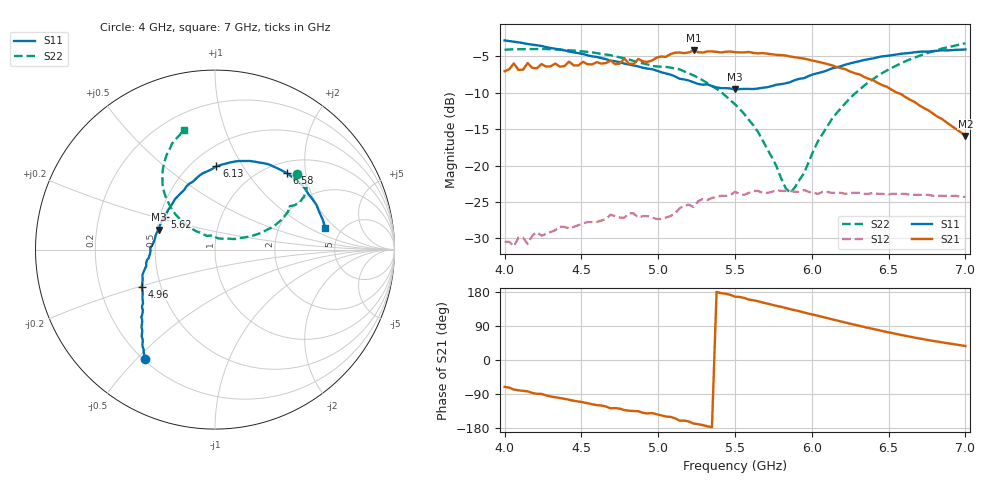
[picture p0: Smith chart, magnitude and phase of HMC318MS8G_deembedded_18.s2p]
!Hittite Microwave Corporation
!12 Elizabeth Drive
!Chelmsford, MA 01824
!Tel: 978-250-3343
!Fax: 978-250-3373
!Device: HMC318MS8G, 5-6 GHz LNA with AGC in 8-lead Grounded Base Surface Mount Plastic Package
!Misc: Room Temp Vdd = +3V Idd = 5.7 mA. Vctl =1.8 V	 , DEEMBEDDED TO THE PINS OF THE DEVICE
# MHZ S MA R 50
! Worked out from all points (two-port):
!   101 points, 4 GHz to 7 GHz, reference 50 ohm
!   highest |S21| = -4.19 dB at 5.23 GHz (marker M1); lowest = -15.9 dB at 7 GHz (marker M2)
!   |S21| within 3 dB of the highest: start of sweep to 6.263 GHz
!   lowest |S11| = -9.6 dB at 5.5 GHz (marker M3), VSWR 2.00, Z = 25.6 + j6.42 ohm
!   |S11| at or under -10 dB: nowhere
!   |S22| runs from -23.7 to -3.2 dB; largest |S21 - S12| = 0.64
!   S11 on the Smith chart (normalised r, x): 4 GHz: 0.21, -0.53; 4.96 GHz: 0.39, -0.21; 5.62 GHz: 0.53, +0.22; 6.13 GHz: 0.65, +0.77; 6.58 GHz: 1.22, +1.58; 7 GHz: 3.75, +1.45
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4000  0.722 -122.5  0.444 -71.0  0.03 127.5  0.623 42.6
4060  0.708 -123.8  0.502 -78.1  0.028 127.9  0.629 41.2
4090  0.701 -124.4  0.454 -79.9  0.032 128.5  0.629 40.6
4150  0.683 -125.6  0.505 -82.7  0.029 120.4  0.63 39.2
4210  0.669 -127.2  0.465 -89.2  0.035 122.7  0.63 38.1
4510  0.583 -134.3  0.515 -111.4  0.04 108.1  0.607 33.2
4690  0.524 -140.1  0.526 -127.5  0.046 102.7  0.572 30.5
4720  0.52 -141.4  0.496 -126.9  0.045 98.2  0.562 30.2
4780  0.501 -143.2  0.543 -132.2  0.044 93.5  0.544 29.2
4960  0.459 -152.9  0.526 -140.0  0.044 77.9  0.483 30.1
5020  0.437 -157.2  0.561 -146.2  0.043 85.6  0.477 30.4
5230  0.373 -172.6  0.617 -167.7  0.052 76.2  0.416 24.5
5500  0.333 160.4  0.6 167.2  0.066 51.3  0.263 20.0
5620  0.335 146.6  0.593 157.6  0.067 37.0  0.189 21.6
5860  0.374 117.4  0.56 134.0  0.067 9.5  0.065 74.8
5950  0.398 108.0  0.542 125.4  0.068 -0.0  0.089 120.8
6010  0.423 101.4  0.524 119.5  0.065 -8.2  0.126 131.4
6130  0.464 89.1  0.488 107.5  0.065 -22.8  0.208 138.8
6280  0.512 74.6  0.43 93.0  0.065 -41.2  0.312 137.7
6520  0.572 52.1  0.331 71.4  0.064 -72.1  0.468 128.7
6580  0.585 46.7  0.31 66.1  0.064 -80.2  0.503 125.6
7000  0.626 10.9  0.16 37.1  0.061 -127.6  0.69 104.4
